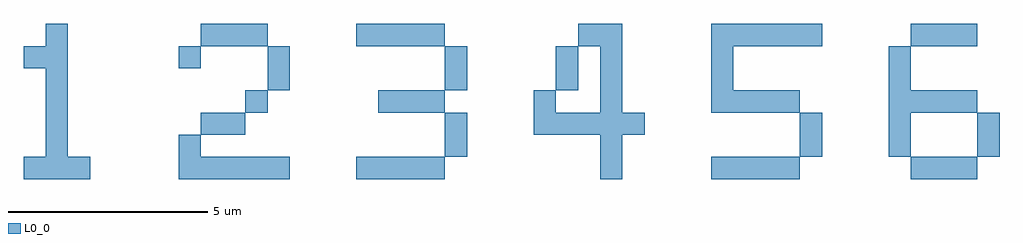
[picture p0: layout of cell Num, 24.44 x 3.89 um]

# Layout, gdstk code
import gdstk
lib = gdstk.Library(unit=1e-6, precision=1e-09)
def R(c, l, rs):  # rectangles x0, y0, x1, y1
    for r in rs: c.add(gdstk.rectangle(r[:2], r[2:], *l))
def P(c, l, *ps):  # polygons
    for p in ps: c.add(gdstk.Polygon(p, *l))
L0_0 = (0, 0)

num = lib.new_cell('Num')
R(num, L0_0, [(6.111,2.778,6.667,3.333), (4.444,3.889,5,4.444)])
P(num, L0_0, [(0.556,1.111),(1.111,1.111),(1.667,1.111),(2.222,1.111),(2.222,1.667),(1.667,1.667),(1.667,2.222),(1.667,2.778),(1.667,3.333),(1.667,3.889),(1.667,4.444),(1.667,5),(1.111,5),(1.111,4.444),(0.556,4.444),(0.556,3.889),(1.111,3.889),(1.111,3.333),(1.111,2.778),(1.111,2.222),(1.111,1.667),(0.556,1.667)],
  [(4.444,1.111),(5,1.111),(5.556,1.111),(6.111,1.111),(6.667,1.111),(7.222,1.111),(7.222,1.667),(6.667,1.667),(6.111,1.667),(5.556,1.667),(5,1.667),(5,2.222),(4.444,2.222),(4.444,1.667)],
  [(5,2.222),(5.556,2.222),(6.111,2.222),(6.111,2.778),(5.556,2.778),(5,2.778)],
  [(5,4.444),(5.556,4.444),(6.111,4.444),(6.667,4.444),(6.667,5),(6.111,5),(5.556,5),(5,5)],
  [(6.667,3.333),(7.222,3.333),(7.222,3.889),(7.222,4.444),(6.667,4.444),(6.667,3.889)],
  [(8.889,1.111),(9.444,1.111),(10,1.111),(10.556,1.111),(11.111,1.111),(11.111,1.667),(10.556,1.667),(10,1.667),(9.444,1.667),(8.889,1.667)],
  [(8.889,4.444),(9.444,4.444),(10,4.444),(10.556,4.444),(11.111,4.444),(11.111,5),(10.556,5),(10,5),(9.444,5),(8.889,5)],
  [(9.444,2.778),(10,2.778),(10.556,2.778),(11.111,2.778),(11.111,3.333),(10.556,3.333),(10,3.333),(9.444,3.333)],
  [(11.111,1.667),(11.667,1.667),(11.667,2.222),(11.667,2.778),(11.111,2.778),(11.111,2.222)],
  [(11.111,3.333),(11.667,3.333),(11.667,3.889),(11.667,4.444),(11.111,4.444),(11.111,3.889)],
  [(13.333,2.222),(13.889,2.222),(14.444,2.222),(15,2.222),(15,1.667),(15,1.111),(15.556,1.111),(15.556,1.667),(15.556,2.222),(16.111,2.222),(16.111,2.778),(15.556,2.778),(15.556,3.333),(15.556,3.889),(15.556,4.444),(15.556,5),(15,5),(14.444,5),(14.444,4.444),(15,4.444),(15,3.889),(15,3.333),(15,2.778),(14.444,2.778),(13.889,2.778),(13.889,3.333),(13.333,3.333),(13.333,2.778)],
  [(13.889,3.333),(14.444,3.333),(14.444,3.889),(14.444,4.444),(13.889,4.444),(13.889,3.889)],
  [(17.778,1.111),(18.333,1.111),(18.889,1.111),(19.444,1.111),(20,1.111),(20,1.667),(19.444,1.667),(18.889,1.667),(18.333,1.667),(17.778,1.667)],
  [(17.778,2.778),(18.333,2.778),(18.889,2.778),(19.444,2.778),(20,2.778),(20,3.333),(19.444,3.333),(18.889,3.333),(18.333,3.333),(18.333,3.889),(18.333,4.444),(18.889,4.444),(19.444,4.444),(20,4.444),(20.556,4.444),(20.556,5),(20,5),(19.444,5),(18.889,5),(18.333,5),(17.778,5),(17.778,4.444),(17.778,3.889),(17.778,3.333)],
  [(20,1.667),(20.556,1.667),(20.556,2.222),(20.556,2.778),(20,2.778),(20,2.222)],
  [(22.222,1.667),(22.778,1.667),(22.778,2.222),(22.778,2.778),(23.333,2.778),(23.889,2.778),(24.444,2.778),(24.444,3.333),(23.889,3.333),(23.333,3.333),(22.778,3.333),(22.778,3.889),(22.778,4.444),(22.222,4.444),(22.222,3.889),(22.222,3.333),(22.222,2.778),(22.222,2.222)],
  [(22.778,1.111),(23.333,1.111),(23.889,1.111),(24.444,1.111),(24.444,1.667),(23.889,1.667),(23.333,1.667),(22.778,1.667)],
  [(22.778,4.444),(23.333,4.444),(23.889,4.444),(24.444,4.444),(24.444,5),(23.889,5),(23.333,5),(22.778,5)],
  [(24.444,1.667),(25,1.667),(25,2.222),(25,2.778),(24.444,2.778),(24.444,2.222)])

lib.write_gds('Num.gds')
